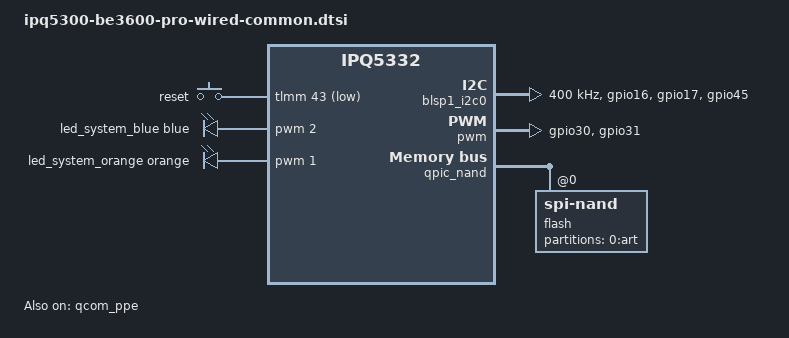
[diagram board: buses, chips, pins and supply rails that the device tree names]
// SPDX-License-Identifier: (GPL-2.0+ OR BSD-3-Clause)

#include "ipq5332-common.dtsi"

/ {
	aliases {
		i2c0 = &blsp1_i2c0;
		led-boot = &led_system_blue;
		led-failsafe = &led_system_orange;
		led-running = &led_system_blue;
		led-upgrade = &led_system_orange;
	};

	chosen {
		bootargs-append = " root=/dev/ubiblock0_1";
	};

	keys {
		compatible = "gpio-keys";
		pinctrl-0 = <&button_pins>;
		pinctrl-names = "default";

		button-reset {
			label = "reset";
			gpios = <&tlmm 43 GPIO_ACTIVE_LOW>;
			linux,code = <KEY_RESTART>;
			debounce-interval = <60>;
		};
	};

	leds {
		compatible = "pwm-leds";

		led_system_blue: system-blue {
			color = <LED_COLOR_ID_BLUE>;
			function = LED_FUNCTION_STATUS;
			pwms = <&pwm 2 50000 0>;
			max-brightness = <255>;
			linux,default-trigger = "default-on";
		};

		led_system_orange: system-orange {
			color = <LED_COLOR_ID_ORANGE>;
			function = LED_FUNCTION_STATUS;
			pwms = <&pwm 1 50000 0>;
			max-brightness = <255>;
		};
	};
};

&blsp1_i2c0 {
	status = "okay";
	clock-frequency = <400000>;
	/* Apply PSE reset electrical settings after TLMM functions are ready. */
	pinctrl-0 = <&poe_i2c_pins &poe_reset_pins>;
	pinctrl-names = "default";
};

&ref_48mhz_clk {
	clock-div = <1>;
	clock-mult = <1>;
};

&xo_clk {
	clock-frequency = <48000000>;
};

&pwm {
	status = "okay";

	pinctrl-names = "default";
	pinctrl-0 = <&pwm_pins>;
};

&tlmm {
	/* Stock GPIO504 = TLMM offset45 (legacy base459, 53 GPIOs). */
	gpio-line-names =
		"", "", "", "", "", "", "", "",
		"", "", "", "", "", "", "", "",
		"", "", "", "", "", "", "", "",
		"", "", "", "", "", "", "", "",
		"", "", "", "", "", "", "", "",
		"", "", "", "", "", "poe-reset", "", "",
		"", "", "", "", "";

	poe_i2c_pins: poe-i2c-state {
		pins = "gpio16", "gpio17";
		function = "blsp0_i2c";
		drive-strength = <8>;
		bias-pull-up;
	};

	poe_reset_pins: poe-reset-state {
		pins = "gpio45";
		function = "gpio";
		drive-strength = <8>;
		bias-pull-up;
	};

	button_pins: button-pins {
		pins = "gpio43";
		function = "gpio";
		drive-strength = <8>;
		bias-pull-up;
	};

	pwm_pins: pwm-pins {
		pins = "gpio30", "gpio31";
		function = "pwm1";
		drive-strength = <8>;
	};
};

&qcom_ppe {
	status = "okay";

	ethernet-ports {
		#address-cells = <1>;
		#size-cells = <0>;

		port@1 {
			reg = <1>;
			phy-mode = "usxgmii";
			pcs-handle = <&pcs0_ch0>;
			nvmem-cells = <&base_macaddr 1>;
			nvmem-cell-names = "mac-address";
			clocks = <&nsscc NSS_CC_PORT1_MAC_CLK>,
				 <&nsscc NSS_CC_PORT1_RX_CLK>,
				 <&nsscc NSS_CC_PORT1_TX_CLK>;
			clock-names = "mac", "rx", "tx";
			resets = <&nsscc NSS_CC_PORT1_MAC_CLK_ARES>,
				 <&nsscc NSS_CC_PORT1_RX_CLK_ARES>,
				 <&nsscc NSS_CC_PORT1_TX_CLK_ARES>;
			reset-names = "mac", "rx", "tx";
		};

		port@2 {
			reg = <2>;
			phy-mode = "usxgmii";
			pcs-handle = <&pcs1_ch0>;
			nvmem-cells = <&base_macaddr 0>;
			nvmem-cell-names = "mac-address";
			clocks = <&nsscc NSS_CC_PORT2_MAC_CLK>,
				 <&nsscc NSS_CC_PORT2_RX_CLK>,
				 <&nsscc NSS_CC_PORT2_TX_CLK>;
			clock-names = "mac", "rx", "tx";
			resets = <&nsscc NSS_CC_PORT2_MAC_CLK_ARES>,
				 <&nsscc NSS_CC_PORT2_RX_CLK_ARES>,
				 <&nsscc NSS_CC_PORT2_TX_CLK_ARES>;
			reset-names = "mac", "rx", "tx";
		};
	};
};

&qpic_nand {
	status = "okay";

	pinctrl-0 = <&qspi_pins>;
	pinctrl-names = "default";

	flash@0 {
		compatible = "spi-nand";
		reg = <0>;
		#address-cells = <1>;
		#size-cells = <1>;
		nand-ecc-strength = <8>;
		nand-ecc-step-size = <512>;
		nand-bus-width = <8>;
		nand-ecc-engine = <&qpic_nand>;

		partitions {
			compatible = "qcom,smem-part";

			partition-0-art {
				label = "0:art";
				read-only;

				nvmem-layout {
					compatible = "fixed-layout";
					#address-cells = <1>;
					#size-cells = <1>;

					base_macaddr: macaddr@0 {
						compatible = "mac-base";
						reg = <0x0 0x6>;
						#nvmem-cell-cells = <1>;
					};
				};
			};
		};
	};
};

&q6_region {
	reg = <0x0 0x4a900000 0x0 0x800000>;
};
